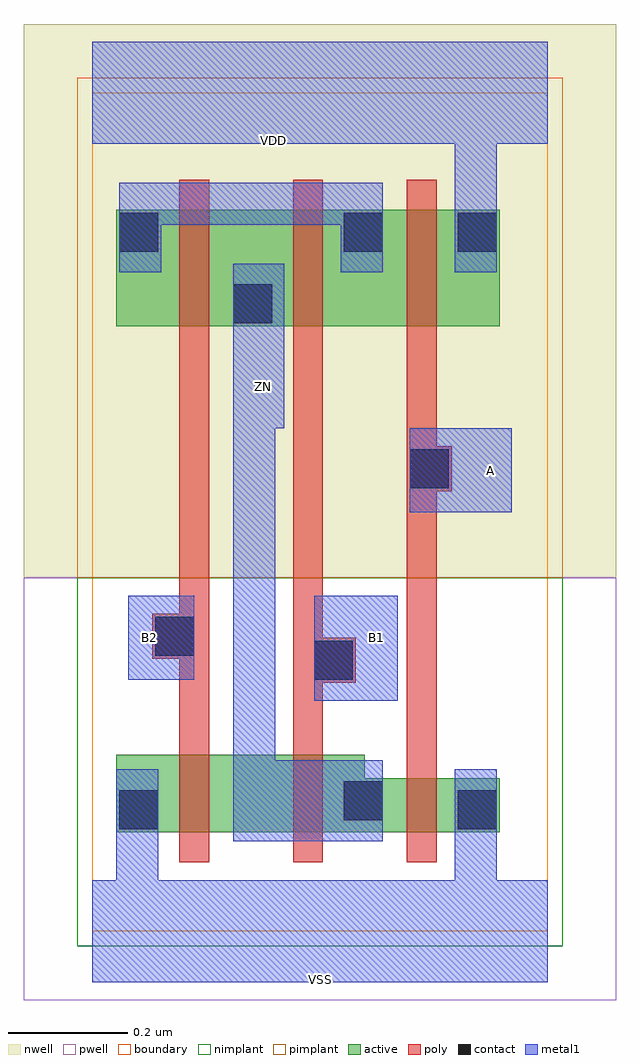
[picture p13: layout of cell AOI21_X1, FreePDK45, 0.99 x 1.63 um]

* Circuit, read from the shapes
.subckt AOI21_X1 A B1 B2 VDD VSS ZN
M1 n1 B2 VSS VSUBS nfet w=0.13u l=0.05u
M2 ZN B1 n1 VSUBS nfet w=0.13u l=0.05u
M3 VSS A ZN VSUBS nfet w=0.09u l=0.05u
M4 ZN B2 n2 n3 pfet w=0.195u l=0.05u
M5 n2 B1 ZN n3 pfet w=0.195u l=0.05u
M6 VDD A n2 n3 pfet w=0.195u l=0.05u
.ends

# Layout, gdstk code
import gdstk
lib = gdstk.Library(unit=1e-6, precision=1e-10)
def R(c, l, rs):  # rectangles x0, y0, x1, y1
    for r in rs: c.add(gdstk.rectangle(r[:2], r[2:], *l))
def P(c, l, *ps):  # polygons
    for p in ps: c.add(gdstk.Polygon(p, *l))
active = (1, 0)
pwell = (2, 0)
nwell = (3, 0)
nimplant = (4, 0)
pimplant = (5, 0)
poly = (9, 0)
contact = (10, 0)
metal1 = (11, 0)
boundary = (235, 0)

aoi21_x1 = lib.new_cell('AOI21_X1')
R(aoi21_x1, active, [(0.04,1.01,0.68,1.205)])
P(aoi21_x1, active, [(0.04,0.165),(0.68,0.165),(0.68,0.255),(0.455,0.255),(0.455,0.295),(0.04,0.295)])
R(aoi21_x1, pwell, [(-0.115,-0.115,0.875,0.59)])
R(aoi21_x1, nwell, [(-0.115,0.59,0.875,1.515)])
R(aoi21_x1, nimplant, [(-0.025,-0.025,0.785,0.59)])
R(aoi21_x1, pimplant, [(-0.025,0.59,0.785,1.425)])
P(aoi21_x1, poly, [(0.1,0.455),(0.145,0.455),(0.145,0.115),(0.195,0.115),(0.195,1.255),(0.145,1.255),(0.145,0.53),(0.1,0.53)],
  [(0.335,0.115),(0.385,0.115),(0.385,0.415),(0.44,0.415),(0.44,0.49),(0.385,0.49),(0.385,1.255),(0.335,1.255)],
  [(0.525,0.115),(0.575,0.115),(0.575,0.735),(0.6,0.735),(0.6,0.81),(0.575,0.81),(0.575,1.255),(0.525,1.255)])
R(aoi21_x1, contact, [(0.045,0.17,0.11,0.235), (0.61,0.17,0.675,0.235), (0.42,0.185,0.485,0.25), (0.37,0.42,0.435,0.485), (0.105,0.46,0.17,0.525), (0.53,0.74,0.595,0.805), (0.235,1.015,0.3,1.08), (0.045,1.135,0.11,1.2), (0.42,1.135,0.485,1.2), (0.61,1.135,0.675,1.2)])
R(aoi21_x1, metal1, [(0.37,0.385,0.51,0.56), (0.06,0.42,0.17,0.56), (0.53,0.7,0.7,0.84)])
P(aoi21_x1, metal1, [(0.235,0.15),(0.485,0.15),(0.485,0.285),(0.305,0.285),(0.305,0.84),(0.32,0.84),(0.32,1.115),(0.235,1.115)],
  [(0.045,1.1),(0.115,1.1),(0.115,1.18),(0.415,1.18),(0.415,1.1),(0.485,1.1),(0.485,1.25),(0.045,1.25)],
  [(0,-0.085),(0.76,-0.085),(0.76,0.085),(0.675,0.085),(0.675,0.27),(0.605,0.27),(0.605,0.085),(0.11,0.085),(0.11,0.27),(0.04,0.27),(0.04,0.085),(0,0.085)],
  [(0,1.315),(0.605,1.315),(0.605,1.1),(0.675,1.1),(0.675,1.315),(0.76,1.315),(0.76,1.485),(0,1.485)])
R(aoi21_x1, boundary, [(0,0,0.76,1.4)])
aoi21_x1.add(gdstk.Label('A', (0.665,0.77), layer=11, texttype=0))
aoi21_x1.add(gdstk.Label('B1', (0.475,0.49), layer=11, texttype=0))
aoi21_x1.add(gdstk.Label('B2', (0.095,0.49), layer=11, texttype=0))
aoi21_x1.add(gdstk.Label('VDD', (0.3025,1.32), layer=11, texttype=0))
aoi21_x1.add(gdstk.Label('VSS', (0.38,-0.08), layer=11, texttype=0))
aoi21_x1.add(gdstk.Label('ZN', (0.285,0.91), layer=11, texttype=0))

lib.write_gds('AOI21_X1.gds')
